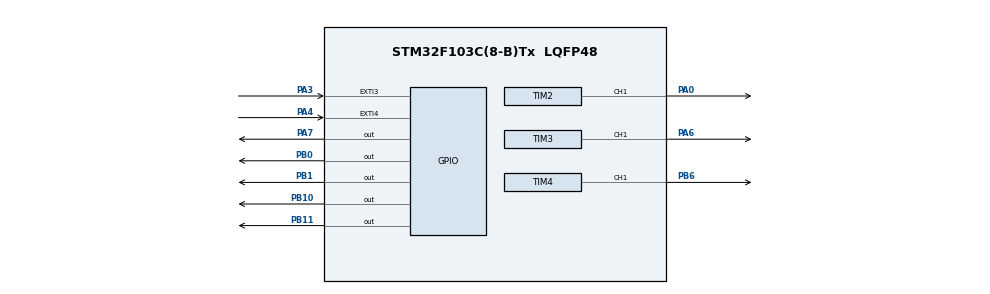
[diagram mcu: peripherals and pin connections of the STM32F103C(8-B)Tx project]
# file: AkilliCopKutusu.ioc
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Mcu.Family=STM32F1
Mcu.Name=STM32F103C(8-B)Tx
Mcu.Package=LQFP48
NVIC.EXTI3_IRQn=true\:0\:0\:false\:false\:true\:true\:true\:true
NVIC.EXTI4_IRQn=true\:0\:0\:false\:false\:true\:true\:true\:true
NVIC.PriorityGroup=NVIC_PRIORITYGROUP_4
NVIC.TIM2_IRQn=true\:0\:0\:false\:false\:true\:true\:true\:true
PA0-WKUP.Signal=S_TIM2_CH1_ETR
PA13.Mode=Serial_Wire
PA13.Signal=SYS_JTMS-SWDIO
PA14.Mode=Serial_Wire
PA14.Signal=SYS_JTCK-SWCLK
PA3.GPIO_ModeDefaultEXTI=GPIO_MODE_IT_RISING_FALLING
PA3.Signal=GPXTI3
PA4.GPIO_ModeDefaultEXTI=GPIO_MODE_IT_RISING_FALLING
PA4.Signal=GPXTI4
PA6.Signal=S_TIM3_CH1
PA7.Signal=GPIO_Output
PB0.Signal=GPIO_Output
PB1.Signal=GPIO_Output
PB10.Signal=GPIO_Output
PB11.Signal=GPIO_Output
PB6.Signal=S_TIM4_CH1
ProjectManager.HeapSize=0x200
ProjectManager.StackSize=0x400
ProjectManager.TargetToolchain=MDK-ARM V5.32
RCC.APB1Freq_Value=8000000
RCC.APB2Freq_Value=8000000
SH.S_TIM2_CH1_ETR.0=TIM2_CH1,PWM Generation1 CH1
SH.S_TIM3_CH1.0=TIM3_CH1,PWM Generation1 CH1
SH.S_TIM4_CH1.0=TIM4_CH1,PWM Generation1 CH1
TIM2.Channel-PWM\ Generation1\ CH1=TIM_CHANNEL_1
TIM2.Period=1000
TIM2.Prescaler=160
TIM3.Channel-PWM\ Generation1\ CH1=TIM_CHANNEL_1
TIM3.Period=1000
TIM3.Prescaler=800
TIM3.Pulse-PWM\ Generation1\ CH1=20
TIM4.Channel-PWM\ Generation1\ CH1=TIM_CHANNEL_1
TIM4.Period=1000
TIM4.Prescaler=800
TIM4.Pulse-PWM\ Generation1\ CH1=20
VP_TIM3_VS_ClockSourceINT.Mode=Internal
VP_TIM4_VS_ClockSourceINT.Mode=Internal
board=custom

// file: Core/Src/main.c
/* USER CODE BEGIN Header */
/**
  ******************************************************************************
  * @file           : main.c
  * @brief          : Main program body
  ******************************************************************************
  * @attention
  *
  * Copyright (c) 2022 STMicroelectronics.
  * All rights reserved.
  *
  * This software is licensed under terms that can be found in the LICENSE file
  * in the root directory of this software component.
  * If no LICENSE file comes with this software, it is provided AS-IS.
  *
  ******************************************************************************
  */
/* USER CODE END Header */
#include "main.h"
#include <stdlib.h>

 TIM_HandleTypeDef htim2;
TIM_HandleTypeDef htim3;
TIM_HandleTypeDef htim4;
double katsayi = 1.7;
int mesafe = 0;
int sayac = 0;
int baslangic = 0;
int son = 0;
double katsayi2 = 1.7;
int mesafe2 = 0;
int sayac2 = 0;
int baslangic2 = 0;
int son2 = 0;

void SystemClock_Config(void);
static void MX_GPIO_Init(void);
static void MX_TIM3_Init(void);
static void MX_TIM4_Init(void);
static void MX_TIM2_Init(void);

int main(void)
{

  /* MCU Configuration--------------------------------------------------------*/

  /* Reset of all peripherals, Initializes the Flash interface and the Systick. */
  HAL_Init();

  /* Configure the system clock */
  SystemClock_Config();

  /* Initialize all configured peripherals */
  MX_GPIO_Init();
  MX_TIM3_Init();
  MX_TIM4_Init();
  MX_TIM2_Init();
  /* USER CODE BEGIN 2 */
HAL_TIM_PWM_Start(&htim2,TIM_CHANNEL_1);
HAL_TIM_PWM_Start(&htim3,TIM_CHANNEL_1);
HAL_TIM_PWM_Start(&htim4,TIM_CHANNEL_1);
  /* USER CODE END 2 */

  /* Infinite loop */
  while (1)
  {

    /* USER CODE BEGIN 3 */
			mesafe = (int) ((son - baslangic)* katsayi);
			HAL_Delay(100);

			if(abs(mesafe) > 3 && abs(mesafe) < 9 ){
			HAL_Delay(1000);
			TIM2->CCR1=50;

			HAL_Delay(5000);
			TIM2->CCR1=100;
			}
			mesafe2 = (son2 - baslangic2)* katsayi2;
			HAL_Delay(100);

			if(abs(mesafe2) >= 2 && abs(mesafe2) <= 5){
			HAL_GPIO_WritePin(GPIOA,GPIO_PIN_7,GPIO_PIN_SET);
			HAL_GPIO_WritePin(GPIOB,GPIO_PIN_0|GPIO_PIN_1|GPIO_PIN_10|GPIO_PIN_11,GPIO_PIN_SET);
			}else if (abs(mesafe2) >= 6 && abs(mesafe2) <= 10){
			HAL_GPIO_WritePin(GPIOA,GPIO_PIN_7,GPIO_PIN_RESET);
			HAL_GPIO_WritePin(GPIOB,GPIO_PIN_0|GPIO_PIN_1|GPIO_PIN_10|GPIO_PIN_11,GPIO_PIN_SET);
			} else if (abs(mesafe2) >= 11 && abs(mesafe2) <= 14){
			HAL_GPIO_WritePin(GPIOA,GPIO_PIN_7,GPIO_PIN_RESET);
			HAL_GPIO_WritePin(GPIOB,GPIO_PIN_0,GPIO_PIN_RESET);
			HAL_GPIO_WritePin(GPIOB,GPIO_PIN_1|GPIO_PIN_10|GPIO_PIN_11,GPIO_PIN_SET);
			} else if (abs(mesafe2) >= 15 && abs(mesafe2) <= 17){
			HAL_GPIO_WritePin(GPIOA,GPIO_PIN_7,GPIO_PIN_RESET);
			HAL_GPIO_WritePin(GPIOB,GPIO_PIN_0|GPIO_PIN_1,GPIO_PIN_RESET);
			HAL_GPIO_WritePin(GPIOB,GPIO_PIN_10|GPIO_PIN_11,GPIO_PIN_SET);
			}else if (abs(mesafe2) >= 18 && abs(mesafe2) <= 21){
			HAL_GPIO_WritePin(GPIOA,GPIO_PIN_7,GPIO_PIN_RESET);
			HAL_GPIO_WritePin(GPIOB,GPIO_PIN_0|GPIO_PIN_1|GPIO_PIN_10,GPIO_PIN_RESET);
			HAL_GPIO_WritePin(GPIOB,GPIO_PIN_11,GPIO_PIN_SET);
			}else {
			HAL_GPIO_WritePin(GPIOA,GPIO_PIN_7,GPIO_PIN_RESET);
			HAL_GPIO_WritePin(GPIOB,GPIO_PIN_0|GPIO_PIN_1|GPIO_PIN_10|GPIO_PIN_11,GPIO_PIN_RESET);
			}

  }
  /* USER CODE END 3 */
}

void SystemClock_Config(void)
{
  RCC_OscInitTypeDef RCC_OscInitStruct = {0};
  RCC_ClkInitTypeDef RCC_ClkInitStruct = {0};

  /** Initializes the RCC Oscillators according to the specified parameters
  * in the RCC_OscInitTypeDef structure.
  */
  RCC_OscInitStruct.OscillatorType = RCC_OSCILLATORTYPE_HSI;
  RCC_OscInitStruct.HSIState = RCC_HSI_ON;
  RCC_OscInitStruct.HSICalibrationValue = RCC_HSICALIBRATION_DEFAULT;
  RCC_OscInitStruct.PLL.PLLState = RCC_PLL_NONE;
  if (HAL_RCC_OscConfig(&RCC_OscInitStruct) != HAL_OK)
  {
    Error_Handler();
  }

  /** Initializes the CPU, AHB and APB buses clocks
  */
  RCC_ClkInitStruct.ClockType = RCC_CLOCKTYPE_HCLK|RCC_CLOCKTYPE_SYSCLK
                              |RCC_CLOCKTYPE_PCLK1|RCC_CLOCKTYPE_PCLK2;
  RCC_ClkInitStruct.SYSCLKSource = RCC_SYSCLKSOURCE_HSI;
  RCC_ClkInitStruct.AHBCLKDivider = RCC_SYSCLK_DIV1;
  RCC_ClkInitStruct.APB1CLKDivider = RCC_HCLK_DIV1;
  RCC_ClkInitStruct.APB2CLKDivider = RCC_HCLK_DIV1;

  if (HAL_RCC_ClockConfig(&RCC_ClkInitStruct, FLASH_LATENCY_0) != HAL_OK)
  {
    Error_Handler();
  }
}

static void MX_TIM2_Init(void)
{

  TIM_MasterConfigTypeDef sMasterConfig = {0};
  TIM_OC_InitTypeDef sConfigOC = {0};

  htim2.Instance = TIM2;
  htim2.Init.Prescaler = 160;
  htim2.Init.CounterMode = TIM_COUNTERMODE_UP;
  htim2.Init.Period = 1000;
  htim2.Init.ClockDivision = TIM_CLOCKDIVISION_DIV1;
  htim2.Init.AutoReloadPreload = TIM_AUTORELOAD_PRELOAD_DISABLE;
  if (HAL_TIM_PWM_Init(&htim2) != HAL_OK)
  {
    Error_Handler();
  }
  sMasterConfig.MasterOutputTrigger = TIM_TRGO_RESET;
  sMasterConfig.MasterSlaveMode = TIM_MASTERSLAVEMODE_DISABLE;
  if (HAL_TIMEx_MasterConfigSynchronization(&htim2, &sMasterConfig) != HAL_OK)
  {
    Error_Handler();
  }
  sConfigOC.OCMode = TIM_OCMODE_PWM1;
  sConfigOC.Pulse = 0;
  sConfigOC.OCPolarity = TIM_OCPOLARITY_HIGH;
  sConfigOC.OCFastMode = TIM_OCFAST_DISABLE;
  if (HAL_TIM_PWM_ConfigChannel(&htim2, &sConfigOC, TIM_CHANNEL_1) != HAL_OK)
  {
    Error_Handler();
  }
  HAL_TIM_MspPostInit(&htim2);

}

static void MX_TIM3_Init(void)
{

  TIM_ClockConfigTypeDef sClockSourceConfig = {0};
  TIM_MasterConfigTypeDef sMasterConfig = {0};
  TIM_OC_InitTypeDef sConfigOC = {0};

  htim3.Instance = TIM3;
  htim3.Init.Prescaler = 800;
  htim3.Init.CounterMode = TIM_COUNTERMODE_UP;
  htim3.Init.Period = 1000;
  htim3.Init.ClockDivision = TIM_CLOCKDIVISION_DIV1;
  htim3.Init.AutoReloadPreload = TIM_AUTORELOAD_PRELOAD_DISABLE;
  if (HAL_TIM_Base_Init(&htim3) != HAL_OK)
  {
    Error_Handler();
  }
  sClockSourceConfig.ClockSource = TIM_CLOCKSOURCE_INTERNAL;
  if (HAL_TIM_ConfigClockSource(&htim3, &sClockSourceConfig) != HAL_OK)
  {
    Error_Handler();
  }
  if (HAL_TIM_PWM_Init(&htim3) != HAL_OK)
  {
    Error_Handler();
  }
  sMasterConfig.MasterOutputTrigger = TIM_TRGO_RESET;
  sMasterConfig.MasterSlaveMode = TIM_MASTERSLAVEMODE_DISABLE;
  if (HAL_TIMEx_MasterConfigSynchronization(&htim3, &sMasterConfig) != HAL_OK)
  {
    Error_Handler();
  }
  sConfigOC.OCMode = TIM_OCMODE_PWM1;
  sConfigOC.Pulse = 20;
  sConfigOC.OCPolarity = TIM_OCPOLARITY_HIGH;
  sConfigOC.OCFastMode = TIM_OCFAST_DISABLE;
  if (HAL_TIM_PWM_ConfigChannel(&htim3, &sConfigOC, TIM_CHANNEL_1) != HAL_OK)
  {
    Error_Handler();
  }
  HAL_TIM_MspPostInit(&htim3);

}

static void MX_TIM4_Init(void)
{

  TIM_ClockConfigTypeDef sClockSourceConfig = {0};
  TIM_MasterConfigTypeDef sMasterConfig = {0};
  TIM_OC_InitTypeDef sConfigOC = {0};

  htim4.Instance = TIM4;
  htim4.Init.Prescaler = 800;
  htim4.Init.CounterMode = TIM_COUNTERMODE_UP;
  htim4.Init.Period = 1000;
  htim4.Init.ClockDivision = TIM_CLOCKDIVISION_DIV1;
  htim4.Init.AutoReloadPreload = TIM_AUTORELOAD_PRELOAD_DISABLE;
  if (HAL_TIM_Base_Init(&htim4) != HAL_OK)
  {
    Error_Handler();
  }
  sClockSourceConfig.ClockSource = TIM_CLOCKSOURCE_INTERNAL;
  if (HAL_TIM_ConfigClockSource(&htim4, &sClockSourceConfig) != HAL_OK)
  {
    Error_Handler();
  }
  if (HAL_TIM_PWM_Init(&htim4) != HAL_OK)
  {
    Error_Handler();
  }
  sMasterConfig.MasterOutputTrigger = TIM_TRGO_RESET;
  sMasterConfig.MasterSlaveMode = TIM_MASTERSLAVEMODE_DISABLE;
  if (HAL_TIMEx_MasterConfigSynchronization(&htim4, &sMasterConfig) != HAL_OK)
  {
    Error_Handler();
  }
  sConfigOC.OCMode = TIM_OCMODE_PWM1;
  sConfigOC.Pulse = 20;
  sConfigOC.OCPolarity = TIM_OCPOLARITY_HIGH;
  sConfigOC.OCFastMode = TIM_OCFAST_DISABLE;
  if (HAL_TIM_PWM_ConfigChannel(&htim4, &sConfigOC, TIM_CHANNEL_1) != HAL_OK)
  {
    Error_Handler();
  }
  HAL_TIM_MspPostInit(&htim4);

}

static void MX_GPIO_Init(void)
{
  GPIO_InitTypeDef GPIO_InitStruct = {0};

  /* GPIO Ports Clock Enable */
  __HAL_RCC_GPIOA_CLK_ENABLE();
  __HAL_RCC_GPIOB_CLK_ENABLE();

  /*Configure GPIO pin Output Level */
  HAL_GPIO_WritePin(GPIOA, GPIO_PIN_7, GPIO_PIN_RESET);

  /*Configure GPIO pin Output Level */
  HAL_GPIO_WritePin(GPIOB, GPIO_PIN_0|GPIO_PIN_1|GPIO_PIN_10|GPIO_PIN_11, GPIO_PIN_RESET);

  /*Configure GPIO pins : PA3 PA4 */
  GPIO_InitStruct.Pin = GPIO_PIN_3|GPIO_PIN_4;
  GPIO_InitStruct.Mode = GPIO_MODE_IT_RISING_FALLING;
  GPIO_InitStruct.Pull = GPIO_NOPULL;
  HAL_GPIO_Init(GPIOA, &GPIO_InitStruct);

  /*Configure GPIO pin : PA7 */
  GPIO_InitStruct.Pin = GPIO_PIN_7;
  GPIO_InitStruct.Mode = GPIO_MODE_OUTPUT_PP;
  GPIO_InitStruct.Pull = GPIO_NOPULL;
  GPIO_InitStruct.Speed = GPIO_SPEED_FREQ_LOW;
  HAL_GPIO_Init(GPIOA, &GPIO_InitStruct);

  /*Configure GPIO pins : PB0 PB1 PB10 PB11 */
  GPIO_InitStruct.Pin = GPIO_PIN_0|GPIO_PIN_1|GPIO_PIN_10|GPIO_PIN_11;
  GPIO_InitStruct.Mode = GPIO_MODE_OUTPUT_PP;
  GPIO_InitStruct.Pull = GPIO_NOPULL;
  GPIO_InitStruct.Speed = GPIO_SPEED_FREQ_LOW;
  HAL_GPIO_Init(GPIOB, &GPIO_InitStruct);

  /* EXTI interrupt init*/
  HAL_NVIC_SetPriority(EXTI3_IRQn, 0, 0);
  HAL_NVIC_EnableIRQ(EXTI3_IRQn);

  HAL_NVIC_SetPriority(EXTI4_IRQn, 0, 0);
  HAL_NVIC_EnableIRQ(EXTI4_IRQn);

}

void Error_Handler(void)
{
  __disable_irq();
  while (1)
  {
  }
}
